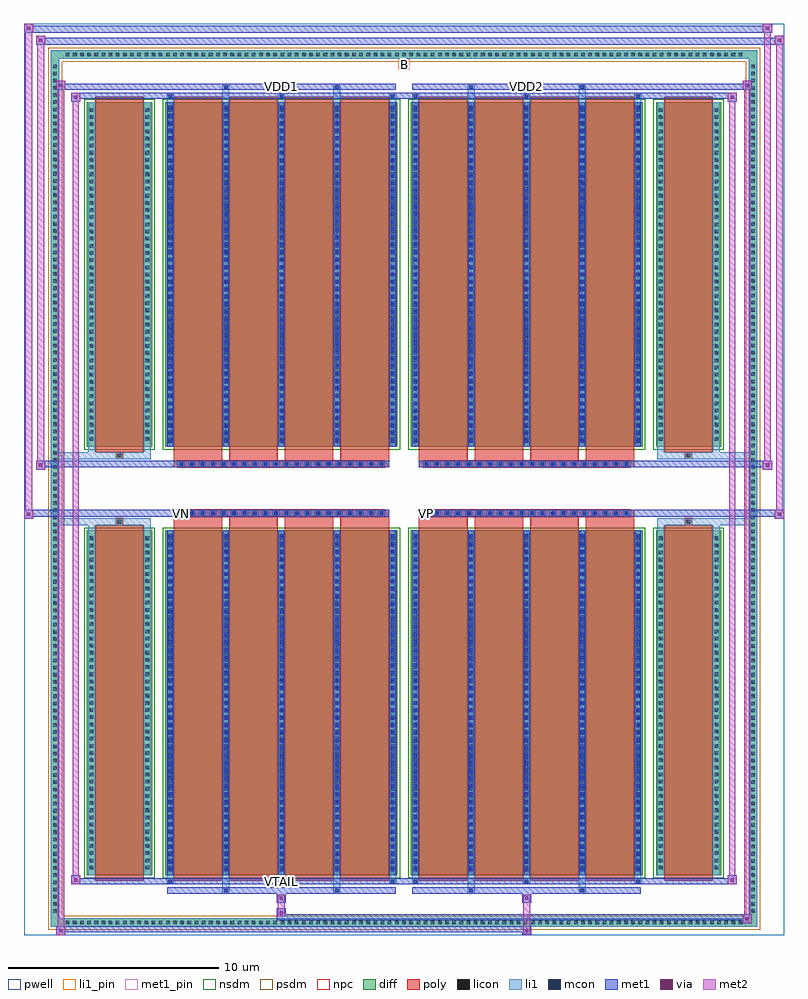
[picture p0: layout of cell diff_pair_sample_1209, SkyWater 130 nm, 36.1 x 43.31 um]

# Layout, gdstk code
import gdstk
lib = gdstk.Library(unit=1e-6, precision=5e-09)
def R(c, l, rs):  # rectangles x0, y0, x1, y1
    for r in rs: c.add(gdstk.rectangle(r[:2], r[2:], *l))
def A(c, l, x, y, w, h, nx, ny, dx, dy):  # array of equal rectangles
    R(c, l, [(x+i*dx, y+j*dy, x+i*dx+w, y+j*dy+h) for i in range(nx) for j in range(ny)])
def P(c, l, *ps):  # polygons
    for p in ps: c.add(gdstk.Polygon(p, *l))
pwell = (64, 44)
diff = (65, 20)
poly = (66, 20)
licon = (66, 44)
li1_pin = (67, 16)
li1 = (67, 20)
mcon = (67, 44)
met1_pin = (68, 16)
met1 = (68, 20)
via = (68, 44)
met2 = (69, 20)
nsdm = (93, 44)
psdm = (94, 20)
npc = (95, 20)

diff_pair_sample_1209 = lib.new_cell('diff_pair_sample_1209')
R(diff_pair_sample_1209, pwell, [(-18.05,-21.22,18.05,22.09), (-15.37,-19.41,-0.01,-0.805), (0.01,-19.41,15.37,-0.805), (-15.37,0.805,-0.01,19.41), (0.01,0.805,15.37,19.41)])
A(diff_pair_sample_1209, diff, -16.185, -20.82, 0.41, 0.41, 95, 2, 0.34, 41.23)
A(diff_pair_sample_1209, diff, -16.78, -20.265, 0.41, 0.41, 1, 119, 0, 0.34)
A(diff_pair_sample_1209, diff, 16.37, -20.265, 0.41, 0.41, 1, 119, 0, 0.34)
R(diff_pair_sample_1209, diff, [(-16.185,-20.82,16.185,-20.41), (-16.78,-20.265,-16.37,20.265), (16.37,-20.265,16.78,20.265), (-15.06,-18.365,-11.97,-1.985), (-11.33,-18.365,-0.32,-1.985), (0.32,-18.365,11.33,-1.985), (11.97,-18.365,15.06,-1.985), (-15.06,1.985,-11.97,18.365), (-11.33,1.985,-0.32,18.365), (0.32,1.985,11.33,18.365), (11.97,1.985,15.06,18.365), (-16.185,20.41,16.185,20.82)])
P(diff_pair_sample_1209, diff, [(16.78,20.82),(-16.78,20.82),(-16.78,-20.41),(-16.37,-20.41),(-16.37,20.41),(16.37,20.41),(16.37,-20.41),(-16.37,-20.41),(-16.78,-20.41),(-16.78,-20.82),(16.78,-20.82)])
A(diff_pair_sample_1209, poly, -10.94, -18.615, 2.31, 16.88, 4, 2, 2.64, 20.35)
A(diff_pair_sample_1209, poly, 0.71, -18.615, 2.31, 16.88, 4, 2, 2.64, 20.35)
A(diff_pair_sample_1209, poly, -10.94, -1.735, 2.31, 0.4, 4, 2, 2.64, 3.07)
A(diff_pair_sample_1209, poly, 0.71, -1.735, 2.31, 0.4, 4, 2, 2.64, 3.07)
A(diff_pair_sample_1209, poly, -10.74, -1.335, 0.33, 0.33, 20, 2, 0.5, 2.34)
A(diff_pair_sample_1209, poly, 0.91, -1.335, 0.33, 0.33, 20, 2, 0.5, 2.34)
R(diff_pair_sample_1209, poly, [(-14.67,-18.615,-12.36,-1.735), (12.36,-18.615,14.67,-1.735), (-13.68,-1.735,-13.35,-1.405), (-13.68,-1.735,-13.35,-1.405), (13.35,-1.735,13.68,-1.405), (13.35,-1.735,13.68,-1.405), (-10.94,-1.335,-0.71,-1.005), (0.71,-1.335,10.94,-1.005), (-10.94,1.005,-0.71,1.335), (0.71,1.005,10.94,1.335), (-13.68,1.405,-13.35,1.735), (-13.68,1.405,-13.35,1.735), (13.35,1.405,13.68,1.735), (13.35,1.405,13.68,1.735), (-14.67,1.735,-12.36,18.615), (12.36,1.735,14.67,18.615)])
A(diff_pair_sample_1209, licon, -16.065, -20.7, 0.17, 0.17, 95, 2, 0.34, 41.23)
A(diff_pair_sample_1209, licon, -16.66, -20.145, 0.17, 0.17, 1, 119, 0, 0.34)
A(diff_pair_sample_1209, licon, 16.49, -20.145, 0.17, 0.17, 1, 119, 0, 0.34)
A(diff_pair_sample_1209, licon, -14.92, -18.08, 0.17, 0.17, 1, 47, 0, 0.34)
A(diff_pair_sample_1209, licon, -12.28, -18.08, 0.17, 0.17, 1, 47, 0, 0.34)
A(diff_pair_sample_1209, licon, -11.19, -18.08, 0.17, 0.17, 5, 47, 2.64, 0.34)
A(diff_pair_sample_1209, licon, 0.46, -18.08, 0.17, 0.17, 5, 47, 2.64, 0.34)
A(diff_pair_sample_1209, licon, 12.11, -18.08, 0.17, 0.17, 1, 47, 0, 0.34)
A(diff_pair_sample_1209, licon, 14.75, -18.08, 0.17, 0.17, 1, 47, 0, 0.34)
A(diff_pair_sample_1209, licon, -10.66, -1.255, 0.17, 0.17, 20, 2, 0.5, 2.34)
A(diff_pair_sample_1209, licon, 0.99, -1.255, 0.17, 0.17, 20, 2, 0.5, 2.34)
A(diff_pair_sample_1209, licon, -14.92, 2.27, 0.17, 0.17, 1, 47, 0, 0.34)
A(diff_pair_sample_1209, licon, -12.28, 2.27, 0.17, 0.17, 1, 47, 0, 0.34)
A(diff_pair_sample_1209, licon, -11.19, 2.27, 0.17, 0.17, 5, 47, 2.64, 0.34)
A(diff_pair_sample_1209, licon, 0.46, 2.27, 0.17, 0.17, 5, 47, 2.64, 0.34)
A(diff_pair_sample_1209, licon, 12.11, 2.27, 0.17, 0.17, 1, 47, 0, 0.34)
A(diff_pair_sample_1209, licon, 14.75, 2.27, 0.17, 0.17, 1, 47, 0, 0.34)
R(diff_pair_sample_1209, licon, [(-13.6,-1.655,-13.43,-1.485), (13.43,-1.655,13.6,-1.485), (-13.6,1.485,-13.43,1.655), (13.43,1.485,13.6,1.655)])
R(diff_pair_sample_1209, li1_pin, [(-0.25,19.91,0.25,20.41)])
A(diff_pair_sample_1209, li1, -16.145, -20.78, 0.33, 0.33, 95, 2, 0.34, 41.23)
A(diff_pair_sample_1209, li1, -16.74, -20.225, 0.33, 0.33, 1, 119, 0, 0.34)
A(diff_pair_sample_1209, li1, 16.41, -20.225, 0.33, 0.33, 1, 119, 0, 0.34)
A(diff_pair_sample_1209, li1, -11.27, -18.74, 0.33, 0.375, 3, 2, 5.28, 37.105)
A(diff_pair_sample_1209, li1, -11.19, -18.74, 0.17, 0.17, 3, 2, 5.28, 37.31)
A(diff_pair_sample_1209, li1, 0.38, -18.74, 0.33, 0.375, 3, 2, 5.28, 37.105)
A(diff_pair_sample_1209, li1, 0.46, -18.74, 0.17, 0.17, 3, 2, 5.28, 37.31)
A(diff_pair_sample_1209, li1, -11.27, -18.365, 0.33, 16.38, 5, 2, 2.64, 20.35)
A(diff_pair_sample_1209, li1, 0.38, -18.365, 0.33, 16.38, 5, 2, 2.64, 20.35)
A(diff_pair_sample_1209, li1, -11.19, -18.18, 0.17, 0.17, 5, 45, 2.64, 0.36)
A(diff_pair_sample_1209, li1, -11.19, -18.18, 0.17, 16.01, 5, 2, 2.64, 20.35)
A(diff_pair_sample_1209, li1, 0.46, -18.18, 0.17, 0.17, 5, 45, 2.64, 0.36)
A(diff_pair_sample_1209, li1, 0.46, -18.18, 0.17, 16.01, 5, 2, 2.64, 20.35)
A(diff_pair_sample_1209, li1, -15, -18.16, 0.33, 0.33, 1, 47, 0, 0.34)
A(diff_pair_sample_1209, li1, -12.36, -18.16, 0.33, 0.33, 1, 47, 0, 0.34)
A(diff_pair_sample_1209, li1, -11.27, -18.16, 0.33, 0.33, 5, 47, 2.64, 0.34)
A(diff_pair_sample_1209, li1, 0.38, -18.16, 0.33, 0.33, 5, 47, 2.64, 0.34)
A(diff_pair_sample_1209, li1, 12.03, -18.16, 0.33, 0.33, 1, 47, 0, 0.34)
A(diff_pair_sample_1209, li1, 14.67, -18.16, 0.33, 0.33, 1, 47, 0, 0.34)
A(diff_pair_sample_1209, li1, -10.74, -1.335, 0.33, 0.33, 20, 2, 0.5, 2.34)
A(diff_pair_sample_1209, li1, 0.91, -1.335, 0.33, 0.33, 20, 2, 0.5, 2.34)
A(diff_pair_sample_1209, li1, -11.19, 2.17, 0.17, 0.17, 5, 45, 2.64, 0.36)
A(diff_pair_sample_1209, li1, 0.46, 2.17, 0.17, 0.17, 5, 45, 2.64, 0.36)
A(diff_pair_sample_1209, li1, -15, 2.19, 0.33, 0.33, 1, 47, 0, 0.34)
A(diff_pair_sample_1209, li1, -12.36, 2.19, 0.33, 0.33, 1, 47, 0, 0.34)
A(diff_pair_sample_1209, li1, -11.27, 2.19, 0.33, 0.33, 5, 47, 2.64, 0.34)
A(diff_pair_sample_1209, li1, 0.38, 2.19, 0.33, 0.33, 5, 47, 2.64, 0.34)
A(diff_pair_sample_1209, li1, 12.03, 2.19, 0.33, 0.33, 1, 47, 0, 0.34)
A(diff_pair_sample_1209, li1, 14.67, 2.19, 0.33, 0.33, 1, 47, 0, 0.34)
R(diff_pair_sample_1209, li1, [(-16.78,-20.82,-16.37,-20.41), (-16.78,-20.82,-16.37,-20.41), (-16.37,-20.82,16.37,-20.41), (16.37,-20.82,16.78,-20.41), (16.37,-20.82,16.78,-20.41), (-16.78,-20.41,-16.37,20.41), (16.37,-20.41,16.78,20.41), (-8.63,-19.17,-8.3,-18.365), (-8.55,-19.17,-8.38,-19), (-3.35,-19.17,-3.02,-18.365), (-3.27,-19.17,-3.1,-19), (3.02,-19.17,3.35,-18.365), (3.1,-19.17,3.27,-19), (8.3,-19.17,8.63,-18.365), (8.38,-19.17,8.55,-19), (-15,-18.365,-14.67,-1.985), (-12.36,-18.365,-12.03,-1.985), (12.03,-18.365,12.36,-1.985), (14.67,-18.365,15,-1.985), (-15,-1.985,-14.67,-1.405), (-12.36,-1.985,-12.03,-1.405), (12.03,-1.985,12.36,-1.405), (14.67,-1.985,15,-1.405), (-16.78,-1.735,-13.68,-1.405), (-15,-1.735,-13.68,-1.405), (-13.68,-1.735,-13.35,-1.405), (-13.35,-1.735,-12.03,-1.405), (12.03,-1.735,13.35,-1.405), (13.35,-1.735,13.68,-1.405), (13.35,-1.735,16.78,-1.405), (13.68,-1.735,15,-1.405), (-16.78,1.405,-13.68,1.735), (-15,1.405,-13.68,1.735), (-15,1.405,-14.67,1.985), (-13.68,1.405,-13.35,1.735), (-13.35,1.405,-12.03,1.735), (-12.36,1.405,-12.03,1.985), (12.03,1.405,13.35,1.735), (12.03,1.405,12.36,1.985), (13.35,1.405,13.68,1.735), (13.35,1.405,16.78,1.735), (13.68,1.405,15,1.735), (14.67,1.405,15,1.985), (-15,1.985,-14.67,18.365), (-12.36,1.985,-12.03,18.365), (12.03,1.985,12.36,18.365), (14.67,1.985,15,18.365), (-8.63,18.365,-8.3,19.17), (-3.35,18.365,-3.02,19.17), (3.02,18.365,3.35,19.17), (8.3,18.365,8.63,19.17), (-8.55,19,-8.38,19.17), (-3.27,19,-3.1,19.17), (3.1,19,3.27,19.17), (8.38,19,8.55,19.17), (-16.78,20.41,-16.37,20.82), (-16.78,20.41,-16.37,20.82), (-16.37,20.41,16.37,20.82), (16.37,20.41,16.78,20.82), (16.37,20.41,16.78,20.82)])
A(diff_pair_sample_1209, mcon, -11.19, -18.74, 0.17, 0.17, 3, 2, 5.28, 37.31)
A(diff_pair_sample_1209, mcon, 0.46, -18.74, 0.17, 0.17, 3, 2, 5.28, 37.31)
A(diff_pair_sample_1209, mcon, -11.19, -18.18, 0.17, 0.17, 5, 45, 2.64, 0.36)
A(diff_pair_sample_1209, mcon, 0.46, -18.18, 0.17, 0.17, 5, 45, 2.64, 0.36)
A(diff_pair_sample_1209, mcon, -10.66, -1.255, 0.17, 0.17, 20, 2, 0.5, 2.34)
A(diff_pair_sample_1209, mcon, 0.99, -1.255, 0.17, 0.17, 20, 2, 0.5, 2.34)
A(diff_pair_sample_1209, mcon, -11.19, 2.17, 0.17, 0.17, 5, 45, 2.64, 0.36)
A(diff_pair_sample_1209, mcon, 0.46, 2.17, 0.17, 0.17, 5, 45, 2.64, 0.36)
R(diff_pair_sample_1209, mcon, [(-8.55,-19.17,-8.38,-19), (-3.27,-19.17,-3.1,-19), (3.1,-19.17,3.27,-19), (8.38,-19.17,8.55,-19), (-8.55,19,-8.38,19.17), (-3.27,19,-3.1,19.17), (3.1,19,3.27,19.17), (8.38,19,8.55,19.17)])
R(diff_pair_sample_1209, met1_pin, [(-5.96,-18.78,-5.69,-18.51), (-10.71,-1.295,-10.44,-1.025), (0.94,-1.295,1.21,-1.025), (-5.96,18.96,-5.69,19.23), (5.69,18.96,5.96,19.23)])
A(diff_pair_sample_1209, met1, -11.25, -18.8, 0.29, 0.29, 3, 2, 5.28, 37.31)
A(diff_pair_sample_1209, met1, 0.4, -18.8, 0.29, 0.29, 3, 2, 5.28, 37.31)
A(diff_pair_sample_1209, met1, -11.25, -18.365, 0.29, 16.38, 5, 2, 2.64, 20.35)
A(diff_pair_sample_1209, met1, 0.4, -18.365, 0.29, 16.38, 5, 2, 2.64, 20.35)
A(diff_pair_sample_1209, met1, -11.25, -18.24, 0.29, 0.29, 5, 45, 2.64, 0.36)
A(diff_pair_sample_1209, met1, 0.4, -18.24, 0.29, 0.29, 5, 45, 2.64, 0.36)
A(diff_pair_sample_1209, met1, -10.72, -1.315, 0.29, 0.29, 20, 2, 0.5, 2.34)
A(diff_pair_sample_1209, met1, 0.93, -1.315, 0.29, 0.29, 20, 2, 0.5, 2.34)
A(diff_pair_sample_1209, met1, -11.25, 2.11, 0.29, 0.29, 5, 45, 2.64, 0.36)
A(diff_pair_sample_1209, met1, 0.4, 2.11, 0.29, 0.29, 5, 45, 2.64, 0.36)
R(diff_pair_sample_1209, met1, [(-16.51,-21.22,-16.08,-20.79), (5.61,-21.22,6.04,-20.79), (-16.51,-21.08,6.04,-20.79), (16.08,-20.65,16.51,-20.22), (-6.04,-20.51,16.51,-20.22), (-6.04,-20.37,-5.61,-19.94), (-6.04,-19.66,-5.61,-19.23), (5.61,-19.66,6.04,-19.23), (-11.25,-19.23,-0.4,-18.94), (-8.61,-19.23,-8.32,-18.94), (-3.33,-19.23,-3.04,-18.94), (0.4,-19.23,11.25,-18.94), (3.04,-19.23,3.33,-18.94), (8.32,-19.23,8.61,-18.94), (-15.8,-18.8,-15.37,-18.37), (-15.8,-18.8,-11.25,-18.51), (-11.25,-18.8,-0.4,-18.51), (-0.4,-18.8,0.4,-18.51), (0.4,-18.8,11.25,-18.51), (11.25,-18.8,15.8,-18.51), (15.37,-18.8,15.8,-18.37), (-18.05,-1.435,-17.62,-1.005), (17.62,-1.435,18.05,-1.005), (-18.05,-1.335,-0.71,-1.005), (-10.94,-1.335,-0.71,-1.005), (0.71,-1.335,10.94,-1.005), (0.71,-1.335,18.05,-1.005), (-17.48,0.905,-17.05,1.335), (17.05,0.905,17.48,1.335), (-17.48,1.005,-10.94,1.335), (-10.94,1.005,-0.71,1.335), (0.71,1.005,10.94,1.335), (10.94,1.005,17.48,1.335), (-15.8,18.37,-15.37,18.8), (15.37,18.37,15.8,18.8), (-15.8,18.51,-11.25,18.8), (-11.25,18.51,-0.4,18.8), (-0.4,18.51,0.4,18.8), (0.4,18.51,11.25,18.8), (11.25,18.51,15.8,18.8), (-16.51,18.94,-16.08,19.37), (-16.51,18.94,-11.25,19.23), (-11.25,18.94,-0.4,19.23), (-8.61,18.94,-8.32,19.23), (-3.33,18.94,-3.04,19.23), (0.4,18.94,11.25,19.23), (3.04,18.94,3.33,19.23), (8.32,18.94,8.61,19.23), (11.25,18.94,16.51,19.23), (16.08,18.94,16.51,19.37), (-17.48,21.09,-17.05,21.52), (-17.48,21.09,-15.37,21.42), (-15.37,21.09,15.37,21.42), (15.37,21.09,18.05,21.42), (17.62,21.09,18.05,21.52), (-18.05,21.66,-17.62,22.09), (-18.05,21.66,-15.37,21.99), (-15.37,21.66,15.37,21.99), (15.37,21.66,17.48,21.99), (17.05,21.66,17.48,22.09)])
R(diff_pair_sample_1209, via, [(-16.37,-21.08,-16.22,-20.93), (5.75,-21.08,5.9,-20.93), (16.22,-20.51,16.37,-20.36), (-5.9,-20.23,-5.75,-20.08), (-5.9,-19.52,-5.75,-19.37), (5.75,-19.52,5.9,-19.37), (-15.66,-18.66,-15.51,-18.51), (15.51,-18.66,15.66,-18.51), (-17.91,-1.295,-17.76,-1.145), (17.76,-1.295,17.91,-1.145), (-17.34,1.045,-17.19,1.195), (17.19,1.045,17.34,1.195), (-15.66,18.51,-15.51,18.66), (15.51,18.51,15.66,18.66), (-16.37,19.08,-16.22,19.23), (16.22,19.08,16.37,19.23), (-17.34,21.23,-17.19,21.38), (17.76,21.23,17.91,21.38), (-17.91,21.8,-17.76,21.95), (17.19,21.8,17.34,21.95)])
R(diff_pair_sample_1209, met2, [(-16.51,-21.22,-16.08,-20.79), (-16.44,-21.22,-16.15,19.37), (-16.15,-21.22,-16.08,-20.79), (-16.46,-21.17,-16.13,-20.84), (5.66,-21.17,5.99,-20.84), (5.66,-20.84,5.99,-19.61), (16.08,-20.65,16.51,-20.22), (16.15,-20.65,16.44,19.37), (16.44,-20.65,16.51,-20.22), (16.13,-20.6,16.46,-20.27), (-5.99,-20.32,-5.66,-19.99), (-5.99,-19.99,-5.66,-19.61), (-5.99,-19.61,-5.66,-19.28), (5.66,-19.61,5.99,-19.28), (-15.8,-18.8,-15.37,-18.37), (-15.73,-18.8,-15.44,18.8), (-15.44,-18.8,-15.37,-18.37), (15.37,-18.8,15.8,-18.37), (15.44,-18.8,15.73,18.8), (15.73,-18.8,15.8,-18.37), (-15.75,-18.75,-15.42,-18.42), (15.42,-18.75,15.75,-18.42), (-18.05,-1.435,-17.62,-1.005), (-18,-1.435,-17.67,22.09), (-17.67,-1.435,-17.62,-1.005), (17.62,-1.435,18.05,-1.005), (17.67,-1.435,18,21.52), (18,-1.435,18.05,-1.005), (-18,-1.385,-17.67,-1.055), (17.67,-1.385,18,-1.055), (-17.48,0.905,-17.05,1.335), (-17.43,0.905,-17.1,21.52), (-17.1,0.905,-17.05,1.335), (17.05,0.905,17.48,1.335), (17.1,0.905,17.43,22.09), (17.43,0.905,17.48,1.335), (-17.43,0.955,-17.1,1.285), (17.1,0.955,17.43,1.285), (-15.8,18.37,-15.37,18.8), (-15.44,18.37,-15.37,18.8), (15.37,18.37,15.8,18.8), (15.73,18.37,15.8,18.8), (-15.75,18.42,-15.42,18.75), (15.42,18.42,15.75,18.75), (-16.51,18.94,-16.08,19.37), (-16.15,18.94,-16.08,19.37), (16.08,18.94,16.51,19.37), (16.44,18.94,16.51,19.37), (-16.46,18.99,-16.13,19.32), (16.13,18.99,16.46,19.32), (-17.48,21.09,-17.05,21.52), (-17.1,21.09,-17.05,21.52), (17.62,21.09,18.05,21.52), (18,21.09,18.05,21.52), (-17.43,21.14,-17.1,21.47), (17.67,21.14,18,21.47), (-18.05,21.66,-17.62,22.09), (-17.67,21.66,-17.62,22.09), (17.05,21.66,17.48,22.09), (17.43,21.66,17.48,22.09), (-18,21.71,-17.67,22.04), (17.1,21.71,17.43,22.04)])
R(diff_pair_sample_1209, nsdm, [(-15.19,-18.495,-11.84,-1.855), (-11.46,-18.495,-0.19,-1.855), (0.19,-18.495,11.46,-1.855), (11.84,-18.495,15.19,-1.855), (-15.19,1.855,-11.84,18.495), (-11.46,1.855,-0.19,18.495), (0.19,1.855,11.46,18.495), (11.84,1.855,15.19,18.495)])
P(diff_pair_sample_1209, psdm, [(16.91,20.95),(-16.91,20.95),(-16.91,-20.28),(-16.24,-20.28),(-16.24,20.28),(16.24,20.28),(16.24,-20.28),(-16.24,-20.28),(-16.91,-20.28),(-16.91,-20.95),(16.91,-20.95)])
A(diff_pair_sample_1209, npc, -10.76, -1.355, 0.37, 0.37, 20, 2, 0.5, 2.34)
A(diff_pair_sample_1209, npc, 0.89, -1.355, 0.37, 0.37, 20, 2, 0.5, 2.34)
R(diff_pair_sample_1209, npc, [(-13.7,-1.755,-13.33,-1.385), (13.33,-1.755,13.7,-1.385), (-10.76,-1.355,-9.89,-0.985), (-10.76,-1.355,-9.89,-0.985), (-10.26,-1.355,-9.39,-0.985), (-10.26,-1.355,-9.39,-0.985), (-9.76,-1.355,-8.89,-0.985), (-9.76,-1.355,-8.89,-0.985), (-9.26,-1.355,-8.39,-0.985), (-9.26,-1.355,-8.39,-0.985), (-8.76,-1.355,-7.89,-0.985), (-8.76,-1.355,-7.89,-0.985), (-8.26,-1.355,-7.39,-0.985), (-8.26,-1.355,-7.39,-0.985), (-7.76,-1.355,-6.89,-0.985), (-7.76,-1.355,-6.89,-0.985), (-7.26,-1.355,-6.39,-0.985), (-7.26,-1.355,-6.39,-0.985), (-6.76,-1.355,-5.89,-0.985), (-6.76,-1.355,-5.89,-0.985), (-6.26,-1.355,-5.39,-0.985), (-6.26,-1.355,-5.39,-0.985), (-5.76,-1.355,-4.89,-0.985), (-5.76,-1.355,-4.89,-0.985), (-5.26,-1.355,-4.39,-0.985), (-5.26,-1.355,-4.39,-0.985), (-4.76,-1.355,-3.89,-0.985), (-4.76,-1.355,-3.89,-0.985), (-4.26,-1.355,-3.39,-0.985), (-4.26,-1.355,-3.39,-0.985), (-3.76,-1.355,-2.89,-0.985), (-3.76,-1.355,-2.89,-0.985), (-3.26,-1.355,-2.39,-0.985), (-3.26,-1.355,-2.39,-0.985), (-2.76,-1.355,-1.89,-0.985), (-2.76,-1.355,-1.89,-0.985), (-2.26,-1.355,-1.39,-0.985), (-2.26,-1.355,-1.39,-0.985), (-1.76,-1.355,-0.89,-0.985), (-1.76,-1.355,-0.89,-0.985), (0.89,-1.355,1.76,-0.985), (0.89,-1.355,1.76,-0.985), (1.39,-1.355,2.26,-0.985), (1.39,-1.355,2.26,-0.985), (1.89,-1.355,2.76,-0.985), (1.89,-1.355,2.76,-0.985), (2.39,-1.355,3.26,-0.985), (2.39,-1.355,3.26,-0.985), (2.89,-1.355,3.76,-0.985), (2.89,-1.355,3.76,-0.985), (3.39,-1.355,4.26,-0.985), (3.39,-1.355,4.26,-0.985), (3.89,-1.355,4.76,-0.985), (3.89,-1.355,4.76,-0.985), (4.39,-1.355,5.26,-0.985), (4.39,-1.355,5.26,-0.985), (4.89,-1.355,5.76,-0.985), (4.89,-1.355,5.76,-0.985), (5.39,-1.355,6.26,-0.985), (5.39,-1.355,6.26,-0.985), (5.89,-1.355,6.76,-0.985), (5.89,-1.355,6.76,-0.985), (6.39,-1.355,7.26,-0.985), (6.39,-1.355,7.26,-0.985), (6.89,-1.355,7.76,-0.985), (6.89,-1.355,7.76,-0.985), (7.39,-1.355,8.26,-0.985), (7.39,-1.355,8.26,-0.985), (7.89,-1.355,8.76,-0.985), (7.89,-1.355,8.76,-0.985), (8.39,-1.355,9.26,-0.985), (8.39,-1.355,9.26,-0.985), (8.89,-1.355,9.76,-0.985), (8.89,-1.355,9.76,-0.985), (9.39,-1.355,10.26,-0.985), (9.39,-1.355,10.26,-0.985), (9.89,-1.355,10.76,-0.985), (9.89,-1.355,10.76,-0.985), (-10.76,0.985,-9.89,1.355), (-10.76,0.985,-9.89,1.355), (-10.26,0.985,-9.39,1.355), (-10.26,0.985,-9.39,1.355), (-9.76,0.985,-8.89,1.355), (-9.76,0.985,-8.89,1.355), (-9.26,0.985,-8.39,1.355), (-9.26,0.985,-8.39,1.355), (-8.76,0.985,-7.89,1.355), (-8.76,0.985,-7.89,1.355), (-8.26,0.985,-7.39,1.355), (-8.26,0.985,-7.39,1.355), (-7.76,0.985,-6.89,1.355), (-7.76,0.985,-6.89,1.355), (-7.26,0.985,-6.39,1.355), (-7.26,0.985,-6.39,1.355), (-6.76,0.985,-5.89,1.355), (-6.76,0.985,-5.89,1.355), (-6.26,0.985,-5.39,1.355), (-6.26,0.985,-5.39,1.355), (-5.76,0.985,-4.89,1.355), (-5.76,0.985,-4.89,1.355), (-5.26,0.985,-4.39,1.355), (-5.26,0.985,-4.39,1.355), (-4.76,0.985,-3.89,1.355), (-4.76,0.985,-3.89,1.355), (-4.26,0.985,-3.39,1.355), (-4.26,0.985,-3.39,1.355), (-3.76,0.985,-2.89,1.355), (-3.76,0.985,-2.89,1.355), (-3.26,0.985,-2.39,1.355), (-3.26,0.985,-2.39,1.355), (-2.76,0.985,-1.89,1.355), (-2.76,0.985,-1.89,1.355), (-2.26,0.985,-1.39,1.355), (-2.26,0.985,-1.39,1.355), (-1.76,0.985,-0.89,1.355), (-1.76,0.985,-0.89,1.355), (0.89,0.985,1.76,1.355), (0.89,0.985,1.76,1.355), (1.39,0.985,2.26,1.355), (1.39,0.985,2.26,1.355), (1.89,0.985,2.76,1.355), (1.89,0.985,2.76,1.355), (2.39,0.985,3.26,1.355), (2.39,0.985,3.26,1.355), (2.89,0.985,3.76,1.355), (2.89,0.985,3.76,1.355), (3.39,0.985,4.26,1.355), (3.39,0.985,4.26,1.355), (3.89,0.985,4.76,1.355), (3.89,0.985,4.76,1.355), (4.39,0.985,5.26,1.355), (4.39,0.985,5.26,1.355), (4.89,0.985,5.76,1.355), (4.89,0.985,5.76,1.355), (5.39,0.985,6.26,1.355), (5.39,0.985,6.26,1.355), (5.89,0.985,6.76,1.355), (5.89,0.985,6.76,1.355), (6.39,0.985,7.26,1.355), (6.39,0.985,7.26,1.355), (6.89,0.985,7.76,1.355), (6.89,0.985,7.76,1.355), (7.39,0.985,8.26,1.355), (7.39,0.985,8.26,1.355), (7.89,0.985,8.76,1.355), (7.89,0.985,8.76,1.355), (8.39,0.985,9.26,1.355), (8.39,0.985,9.26,1.355), (8.89,0.985,9.76,1.355), (8.89,0.985,9.76,1.355), (9.39,0.985,10.26,1.355), (9.39,0.985,10.26,1.355), (9.89,0.985,10.76,1.355), (9.89,0.985,10.76,1.355), (-13.7,1.385,-13.33,1.755), (13.33,1.385,13.7,1.755)])
diff_pair_sample_1209.add(gdstk.Label('VTAIL', (-5.825,-18.645), layer=68, texttype=5))
diff_pair_sample_1209.add(gdstk.Label('VN', (-10.575,-1.16), layer=68, texttype=5))
diff_pair_sample_1209.add(gdstk.Label('VP', (1.075,-1.16), layer=68, texttype=5))
diff_pair_sample_1209.add(gdstk.Label('B', (0,20.16), layer=67, texttype=5))
diff_pair_sample_1209.add(gdstk.Label('VDD2', (5.825,19.095), layer=68, texttype=5))
diff_pair_sample_1209.add(gdstk.Label('VDD1', (-5.825,19.095), layer=68, texttype=5))

lib.write_gds('diff_pair_sample_1209.gds')
